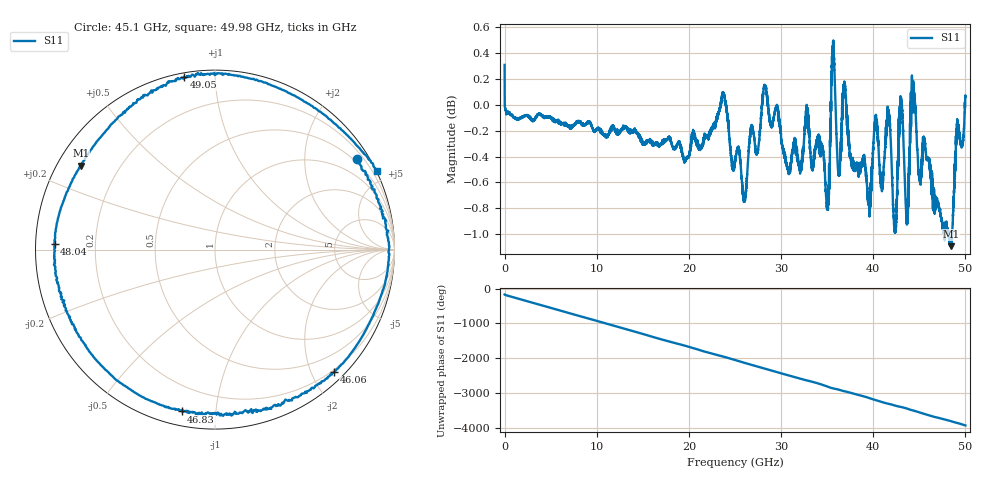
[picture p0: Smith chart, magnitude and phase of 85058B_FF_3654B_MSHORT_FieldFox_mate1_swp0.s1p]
!Created with skrf (http://scikit-rf.org).
# Hz S RI R 50.0
!freq ReS11 ImS11
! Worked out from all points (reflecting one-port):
!   10001 points, 300 kHz to 50 GHz, reference 50 ohm
!   lowest |S11| = -1.1 dB at 48.43 GHz (marker M1), VSWR 15.89, Z = 3.41 + j14.3 ohm
!   phase of S11 starts at -173 deg and turns -3763 deg over the sweep
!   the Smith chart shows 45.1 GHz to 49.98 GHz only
!   S11 on the Smith chart (normalised r, x): 45.1 GHz: 0.42, +3.38; 46.06 GHz: 0.16, -2.35; 46.83 GHz: 0.07, -0.81; 48.04 GHz: 0.06, +0.02; 49.05 GHz: 0.02, +0.84; 49.98 GHz: -0.03, +4.36
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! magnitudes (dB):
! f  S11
! 300 kHz  0.3
! 6.25 GHz  -0.1
! 12.5 GHz  -0.2
! 18.75 GHz  -0.3
! 23.74 GHz  0.1
! 25 GHz  -0.4
! 26.06 GHz  -0.7
! 28.24 GHz  0.2
! 31.25 GHz  -0.3
! 35.02 GHz  -0.8
! 35.67 GHz  0.4
! 36.23 GHz  -0.5
! 36.86 GHz  0.2
! 37.5 GHz  -0.4
! 39.55 GHz  -0.8
! 41.65 GHz  -0.1
! 42.36 GHz  -1.0
! 43.03 GHz  0.0
! 43.75 GHz  -0.8
! 44.33 GHz  0.0
! 45.1 GHz  -0.6
! 46.06 GHz  -0.4
! 46.83 GHz  -0.7
! 48.04 GHz  -1.0
! 48.43 GHz  -1.1
! 49.05 GHz  -0.2
! 49.98 GHz  0.0
! 50 GHz  0.1
